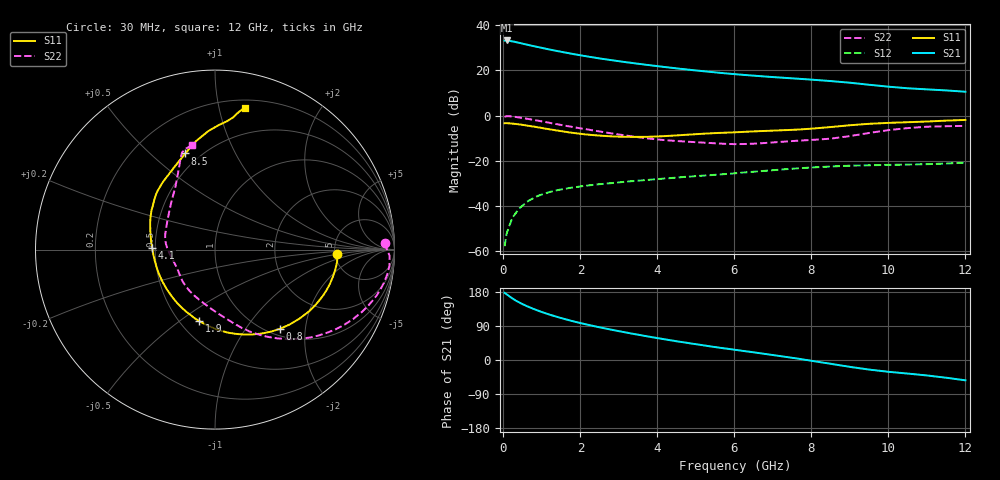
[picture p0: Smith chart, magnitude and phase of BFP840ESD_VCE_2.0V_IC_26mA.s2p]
! Infineon Technologies  Discrete & RF Semiconductors
! BFP840ESD
! VCE =  2.0 V,  IC =  26 mA
! Common Emitter S-Parameters:  May 2012
# GHz  S  MA  R  50
!  f  S11  S21  S12  S22
! GHz  MAG  ANG  MAG  ANG  MAG  ANG  MAG  ANG
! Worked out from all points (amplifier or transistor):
!   93 points, 30 MHz to 12 GHz, reference 50 ohm
!   highest |S21| = 33.3 dB at 80 MHz (marker M1)
!   |S21| within 3 dB of that: start of sweep to 918.6 MHz
!   unconditionally stable (mu >= 1): 4.581 GHz to 7.836 GHz
!   at 1.1 GHz: K = 0.47, MSG = 32.0 dB, |S12| = -34.3 dB
!   at 4.2 GHz: K = 0.97, MSG = 24.6 dB, |S12| = -27.7 dB
!   at 12 GHz: K = 0.73, MSG = 15.7 dB, |S12| = -20.8 dB
!   S11 on the Smith chart (normalised r, x): 30 MHz: 5.23, -0.46; 800 MHz: 1.12, -1.47; 1.9 GHz: 0.62, -0.59; 4.1 GHz: 0.48, +0.01; 8.5 GHz: 0.42, +0.65; 12 GHz: 0.26, +1.20
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0.03  0.6814 -2.0  45.74 177.3  0.0013 97.6  0.9452 2.1
0.08  0.6839 -5.8  46.18 173.5  0.0024 63.9  0.9738 -2.1
0.23  0.6684 -16.5  44.1 162.7  0.0055 80.7  0.9591 -11.1
0.38  0.6458 -26.2  41.36 153.5  0.0082 75.2  0.9217 -18.1
0.5  0.6259 -33.6  39.21 147.2  0.0103 70.1  0.8883 -23.1
0.6  0.6074 -39.4  37.49 142.4  0.0123 68.7  0.8598 -26.9
0.8  0.5713 -50.5  34.34 134.1  0.0154 64.3  0.8029 -33.8
1  0.5343 -61.2  31.59 126.6  0.0181 59.9  0.7476 -39.9
1.3  0.4843 -75.9  27.98 116.6  0.0216 55.0  0.6695 -48.1
1.6  0.442 -89.6  24.99 107.8  0.0241 50.9  0.6016 -55.2
1.9  0.407 -102.7  22.44 99.9  0.0265 47.8  0.5433 -61.5
2.1  0.3881 -110.8  20.98 95.1  0.0281 46.5  0.5094 -65.4
2.5  0.3628 -126.6  18.49 86.2  0.0306 43.5  0.4476 -72.6
2.9  0.3472 -141.5  16.48 78.0  0.0329 41.9  0.3953 -79.9
3.4  0.3399 -158.9  14.45 68.5  0.0359 40.2  0.3435 -90.2
4.1  0.3503 178.4  12.18 56.1  0.0402 37.4  0.293 -107.4
5  0.3901 157.8  10.03 41.7  0.0461 34.0  0.2593 -129.7
6.1  0.4327 141.9  8.173 25.8  0.054 30.7  0.2359 -155.5
8.5  0.5611 107.2  5.836 -10.0  0.0752 14.0  0.3106 148.6
9.5  0.6616 93.2  4.834 -25.3  0.08 5.2  0.4151 122.0
10.5  0.7178 84.7  4.045 -35.8  0.0829 -1.7  0.5315 111.4
12  0.8063 78.2  3.389 -53.6  0.0913 -9.5  0.5948 102.7
